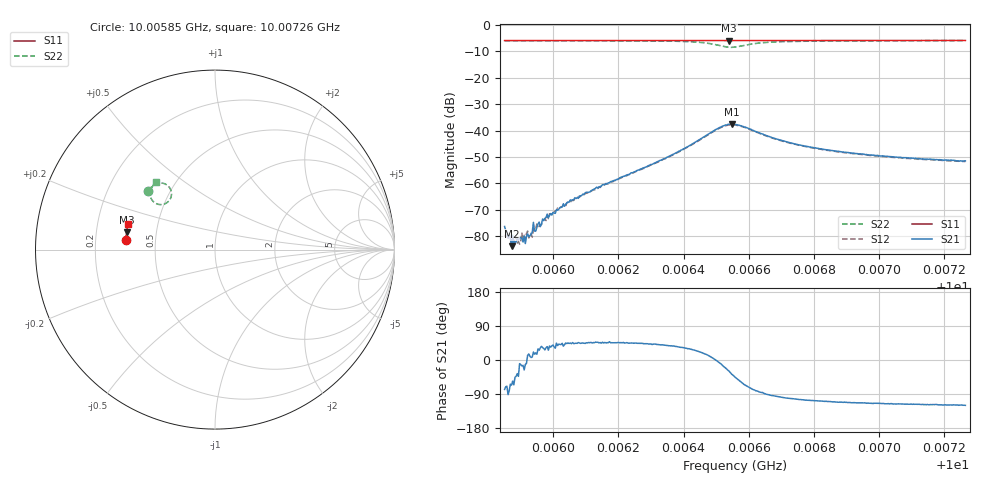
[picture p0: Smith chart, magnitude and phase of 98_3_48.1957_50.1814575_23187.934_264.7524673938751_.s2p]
#  HZ  S  RI  R  50.00
! Rohde & Schwarz Vector Network Analyzer
! Rohde-Schwarz,ZNB20-2Port,1311601062101988,3.16
! Created: UTC 3/20/2024, 11:40:23 AM
! freq[Hz]  re:S11  im:S11  re:S21  im:S21  re:S12  im:S12  re:S22  im:S22
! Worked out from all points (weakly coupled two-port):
!   401 points, 10.00585 GHz to 10.00726 GHz, reference 50 ohm
!   highest |S21| = -37.56 dB at 10.00655 GHz (marker M1); lowest = -83.7 dB at 10.00587 GHz (marker M2)
!   lowest |S11| = -6.0 dB at 10.00654 GHz (marker M3), VSWR 3.01, Z = 16.8 + j4.33 ohm
!   |S11| at or under -10 dB: nowhere
!   |S22| runs from -8.6 to -6.0 dB; largest |S21 - S12| = 0.0009
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1.0005851e10  -0.4986 0.0529  3.31e-05 -0.00015  6.61e-06 -9.89e-05  -0.3742 0.3286
1.0005862e10  -0.4984 0.0535  -2.29e-06 -9.21e-05  3.54e-05 -9.72e-05  -0.3735 0.3293
1.0005873e10  -0.4984 0.0543  2.63e-05 -5.98e-05  4.82e-05 -6.18e-05  -0.3729 0.33
1.0005894e10  -0.4983 0.0558  6.12e-05 -5.72e-05  7.82e-05 -1.62e-05  -0.3719 0.3313
1.0005926e10  -0.498 0.0577  9.54e-05 2.7e-05  9.29e-05 7.35e-06  -0.37 0.3334
1.0005933e10  -0.498 0.0582  0.000111 1.28e-05  0.000108 3.36e-05  -0.3698 0.3338
1.0005947e10  -0.498 0.0592  0.000119 4.03e-05  0.000118 7.84e-05  -0.3688 0.3348
1.0005961e10  -0.4978 0.0599  0.00013 8.1e-05  0.000154 6.18e-05  -0.368 0.3357
1.0005975e10  -0.4978 0.0609  0.000195 9.8e-05  0.000161 0.000145  -0.3672 0.3366
1.0006017e10  -0.4975 0.0638  0.000242 0.000216  0.000244 0.00022  -0.3645 0.3396
1.0006088e10  -0.4971 0.0684  0.000423 0.000419  0.000381 0.000443  -0.3594 0.3447
1.0006325e10  -0.4951 0.0837  0.00202 0.00172  0.00189 0.00177  -0.3316 0.3647
1.0006466e10  -0.4932 0.0929  0.00753 0.00212  0.00723 0.00246  -0.2724 0.3626
1.0006512e10  -0.4922 0.0956  0.0114 -0.00173  0.0111 -0.0011  -0.243 0.3199
1.000654e10  -0.4917 0.0969  0.0113 -0.00651  0.0113 -0.00592  -0.2538 0.2751
1.0006547e10  -0.4918 0.0973  0.0106 -0.00799  0.0109 -0.00715  -0.2624 0.2656
1.0006558e10  -0.4918 0.0977  0.00916 -0.00922  0.00948 -0.00853  -0.2778 0.2557
1.0006636e10  -0.4917 0.1024  0.000755 -0.00882  0.00106 -0.00862  -0.3545 0.2818
1.0006706e10  -0.4913 0.1072  -0.001 -0.00627  -0.000671 -0.00621  -0.362 0.3134
1.0006794e10  -0.4902 0.1128  -0.00137 -0.0046  -0.00117 -0.00456  -0.3579 0.3344
1.0007031e10  -0.487 0.128  -0.0014 -0.0029  -0.0012 -0.0029  -0.343 0.361
1.0007264e10  -0.4836 0.1426  -0.00133 -0.00232  -0.00116 -0.0023  -0.3297 0.3765
